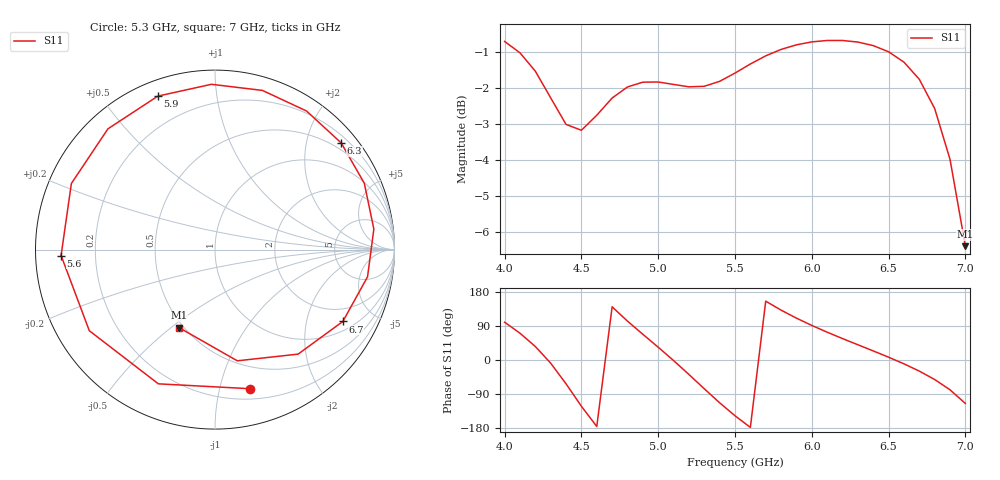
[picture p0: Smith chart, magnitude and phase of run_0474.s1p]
! Touchstone file exported from HFSS 2024.2.0
!  File:  C:/Users/wsak9/Desktop/Sim Fast/Widenad Patch/WP_AI_V1_sweep.aedt
!  Generated:  11:44:24 AM Oct 14, 2026
!  Design:  A1_model
!  Project:  WP_AI_V1_sweep
!  Setup:  Setup1
!  Solution:  Sweep
! Variables:
!  Air_gap = 3.05mm
!  Curve_Amp1 = 2.76
!  Curve_len1 = 1
!  Curve_pos = 12.725mm
!  Extra = 2.72mm
!  H_sub = 0.79mm
!  L_Patch = 21.45mm
!  L_Patch1 = 12.62mm
!  Sx = 2.79mm
!  Sy = 3.44mm
!  WS = 1.46mm
!  W_Patch = 10.45mm
!  W_Patch1 = 9.9mm
!Data is not renormalized
# GHz S MA
! Terminal data exported
! Port[1] = 1
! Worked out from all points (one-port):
!   31 points, 4 GHz to 7 GHz, reference per port
!   lowest |S11| = -6.4 dB at 7 GHz (marker M1), VSWR 2.84
!   |S11| at or under -10 dB: nowhere
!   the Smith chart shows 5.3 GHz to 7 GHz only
!   S11 on the Smith chart (normalised r, x): 5.3 GHz: 0.29, -1.24; 5.6 GHz: 0.08, -0.02; 5.9 GHz: 0.07, +0.69; 6.3 GHz: 0.35, +2.69; 6.7 GHz: 1.37, -3.29; 7 GHz: 0.47, -0.53
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4  0.9225 99.8
4.1  0.8895 70.7
4.2  0.8386 35.6
4.3  0.7699 -8.4
4.4  0.7071 -62.9
4.5  0.6939 -122.1
4.6  0.7281 -175.4
4.7  0.7695 140.4
4.8  0.7973 102.6
4.9  0.8096 67.9
5  0.8101 33.7
5.1  0.8038 -1.4
5.2  0.7976 -38.2
5.3  0.799 -75.9
5.4  0.8118 -112.9
5.5  0.8335 -147.2
5.6  0.8582 -177.8
5.7  0.8809 155.3
5.8  0.8992 131.6
5.9  0.9125 110.4
6.1  0.9254 73.4
6.3  0.9206 40.2
6.5  0.8924 7.4
6.6  0.8633 -10.1
6.7  0.8171 -29.3
6.8  0.744 -51.5
6.9  0.632 -78.7
7  0.4786 -114.8
